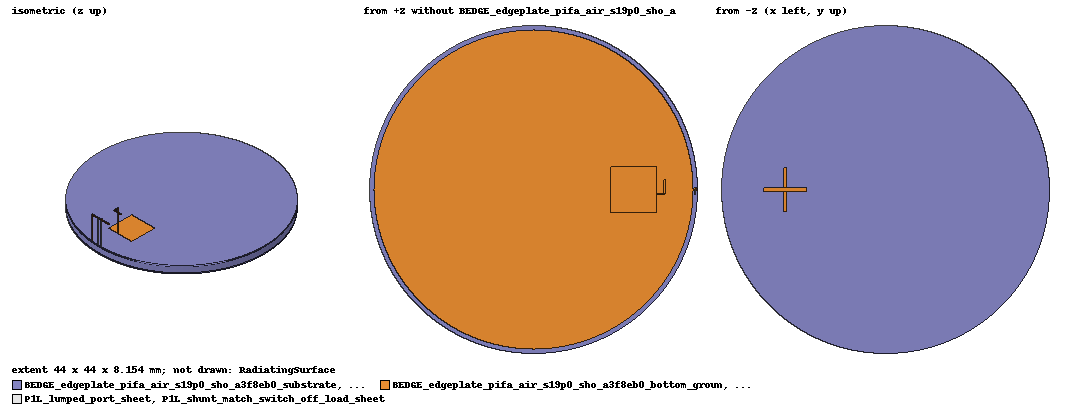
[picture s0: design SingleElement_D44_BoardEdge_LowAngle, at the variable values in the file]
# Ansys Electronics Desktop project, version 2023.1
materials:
  vacuum: permittivity=1
  RO4350B_custom_D44_Topology: permittivity=3.48 permeability=1 dielectric_loss_tangent=0.0037
  copper: permeability=0.999991 conductivity=58000000
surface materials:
  Steel-oxidised-surface

design SingleElement_D44_BoardEdge_LowAngle (HFSS, HFSS Modal Network, model units mm)
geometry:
  BEDGE_edgeplate_pifa_air_s19p0_sho_a3f8eb0_substrate [RO4350B_custom_D44_Topology] = cylinder(axis=Z, base_centre=(0mm, 0mm, 0mm), radius=22mm, height=1.6mm, segments=128)
  BEDGE_edgeplate_pifa_air_s19p0_sho_a3f8eb0_feed_substrate [RO4350B_custom_D44_Topology] = cylinder(axis=Z, base_centre=(0mm, 0mm, -0.254mm), radius=22mm, height=0.254mm, segments=128)
  BEDGE_edgeplate_pifa_air_s19p0_sho_a3f8eb0_bottom_ground [copper] = circle(normal=Z, centre=(0mm, 0mm, 0mm), radius=21.4mm, segments=128)
  P1_dualpol_slotcoupled_patch [copper] = polyline(z=1.6mm, xy in mm: (10.335029, -3.1) (16.535029, -3.1) (16.535029, 3.1) (10.335029, 3.1) (10.335029, -3.1), closed, covered)
  P1_slotcoupled_folded_edge_riser [copper] = polyline(x=16.475029mm, yz in mm: (-0.72, 1.6) (-0.48, 1.6) (-0.48, 7.5) (-0.72, 7.5) (-0.72, 1.6), closed, covered)
  P1_slotcoupled_folded_edge_radial_arm [copper] = polyline(z=7.5mm, xy in mm: (16.475029, -0.72) (17.535029, -0.72) (17.535029, -0.48) (16.475029, -0.48) (16.475029, -0.72), closed, covered)
  P1_slotcoupled_folded_edge_tangent_arm [copper] = polyline(z=7.5mm, xy in mm: (17.415029, -0.6) (17.655029, -0.6) (17.655029, 1.4) (17.415029, 1.4) (17.415029, -0.6), closed, covered)
  P1_slotcoupled_a_aperture = polyline(z=0mm, xy in mm: (13.245029, -1) (13.625029, -1) (13.625029, 1) (13.245029, 1) (13.245029, -1), closed, covered)
  P1_slotcoupled_b_aperture = polyline(z=0mm, xy in mm: (12.435029, -0.19) (14.435029, -0.19) (14.435029, 0.19) (12.435029, 0.19) (12.435029, -0.19), closed, covered)
  P1_slotcoupled_a_underside_feedline [copper] = polyline(z=-0.254mm, xy in mm: (10.535029, -0.21) (16.335029, -0.21) (16.335029, 0.21) (10.535029, 0.21) (10.535029, -0.21), closed, covered)
  P1_slotcoupled_b_underside_feedline [copper] = polyline(z=-0.254mm, xy in mm: (13.225029, -2.9) (13.645029, -2.9) (13.645029, 2.9) (13.225029, 2.9) (13.225029, -2.9), closed, covered)
  P1A_switch_off_load_sheet = polyline(x=16.335029mm, yz in mm: (-0.21, -0.254) (0.21, -0.254) (0.21, 0) (-0.21, 0) (-0.21, -0.254), closed, covered)
  P1B_switch_off_load_sheet = polyline(y=2.9mm, xz in mm: (13.225029, -0.254) (13.645029, -0.254) (13.645029, 0) (13.225029, 0) (13.225029, -0.254), closed, covered)
  P1_board_edge_fed_ifa_sidewall_top_arm [copper] = polyline(x=21.715029mm, yz in mm: (-2.5, 7.62) (2.5, 7.62) (2.5, 7.9) (-2.5, 7.9) (-2.5, 7.62), closed, covered)
  P1_board_edge_fed_ifa_sidewall_short_wall [copper] = polyline(x=21.715029mm, yz in mm: (-2.5, 0) (-2.22, 0) (-2.22, 7.9) (-2.5, 7.9) (-2.5, 0), closed, covered)
  P1_board_edge_fed_l_series_match = polyline(z=7.9mm, xy in mm: (21.635029, -0.7) (21.795029, -0.7) (21.795029, 0.1) (21.635029, 0.1) (21.635029, -0.7), closed, covered)
  P1L_feed_pad [copper] = circle(normal=Z, centre=(21.715029mm, 0.1mm, 7.9mm), radius=0.22mm, segments=36)
  P1L_lumped_port_sheet = polyline(x=21.715029mm, yz in mm: (-0.11, 0) (0.31, 0) (0.31, 7.9) (-0.11, 7.9) (-0.11, 0), closed, covered)
  P1L_shunt_match_switch_off_load_sheet = polyline(x=21.715029mm, yz in mm: (-0.91, 0) (-0.49, 0) (-0.49, 7.9) (-0.91, 7.9) (-0.91, 0), closed, covered)
  BEDGE_edgeplate_pifa_air_s19p0_sho_a3f8eb0_bottom_ground.subtract(P1_slotcoupled_a_aperture, P1_slotcoupled_b_aperture)
  RadiatingSurface [vacuum] = region(absolute_offset=14.285714mm on all sides)
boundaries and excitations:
  P1A_switch_off_load: Lumped RLC Objects=P1A_switch_off_load_sheet CurrentLine{(16.335029, 0, 0) -> (16.335029, 0, -0.254)} RLC_Type=Parallel Resistance=50ohm Capacitance=8e-14f
  P1B_switch_off_load: Lumped RLC Objects=P1B_switch_off_load_sheet CurrentLine{(13.435029, 2.9, 0) -> (13.435029, 2.9, -0.254)} RLC_Type=Parallel Resistance=50ohm Capacitance=8e-14f
  P1_board_edge_fed_l_series_match: Lumped RLC Objects=P1_board_edge_fed_l_series_match CurrentLine{(21.715029, 0.1, 7.9) -> (21.715029, -0.7, 7.9)} RLC_Type=Serial Capacitance=1.42e-13f
  P1L_shunt_match_switch_off_load: Lumped RLC Objects=P1L_shunt_match_switch_off_load_sheet CurrentLine{(21.715029, -0.7, 7.9) -> (21.715029, -0.7, 0)} RLC_Type=Parallel Resistance=680ohm Inductance=2e-09H
  BEDGE_edgeplate_pifa_air_s19p0_sho_a3f8eb0_PEC_metallization: Perfect E Objects=[BEDGE_edgeplate_pifa_air_s19p0_sho_a3f8eb0_bottom_ground, P1_dualpol_slotcoupled_patch, P1_slotcoupled_folded_edge_riser, P1_slotcoupled_folded_edge_radial_arm, P1_slotcoupled_folded_edge_tangent_arm, P1_slotcoupled_a_underside_feedline, P1_slotcoupled_b_underside_feedline, P1_board_edge_fed_ifa_sidewall_top_arm, P1_board_edge_fed_ifa_sidewall_short_wall, P1L_feed_pad]
  Open1: Radiation Objects=RadiatingSurface
  P1L: Lumped Port Objects=P1L_lumped_port_sheet LumpedPortType=Modal Modes{Mode1{IntLine{(21.715029, 0.1, 7.9) -> (21.715029, 0.1, 0)} CharImp=Zpi RenormImp=50ohm}} Impedance=50ohm
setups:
  Setup_CH9: HfssDriven Frequency=8GHz MaxDeltaS=0.05 MaximumPasses=4 MinimumPasses=1 MinimumConvergedPasses=1 PercentRefinement=30 BasisOrder=1 PortAccuracy=2 DrivenSolverType="Direct Solver"
    sweep Sweep_CH9: point 8GHz; SaveSingleField Type=Discrete SaveFields SaveRadFields
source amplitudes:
  P1L:1: 1W 0deg
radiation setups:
  3D: Infinite Sphere Theta=0deg..180deg step 2deg Phi=-180deg..180deg step 2deg
  Elevation: Infinite Sphere Theta=-180deg..180deg step 1deg Phi=0deg..90deg step 90deg
  Azimuth: Infinite Sphere Theta=90deg..90deg step 0deg Phi=-180deg..180deg step 1deg
  Upper_Hemisphere_5deg: Infinite Sphere Theta=0deg..360deg step 5deg Phi=0deg..90deg step 5deg
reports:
  BEDGE_edgeplate_pifa_air_s19p0_sho_a3f8eb0_S_Parameters: dB(S(P1L:1,P1L:1)) vs Freq on Setup_CH9 : Sweep_CH9
  BEDGE_edgeplate_pifa_air_s19p0_sho_a3f8eb0_GainTotal_8GHz: dB(GainTotal) vs Phi, Theta on Setup_CH9 : Sweep_CH9, Upper_Hemisphere_5deg [Freq=8GHz]
  BEDGE_edgeplate_pifa_air_s19p0_sho_a3f8eb0_AxialRatio_8GHz: AxialRatioValue vs Phi, Theta on Setup_CH9 : Sweep_CH9, Upper_Hemisphere_5deg [Freq=8GHz]
